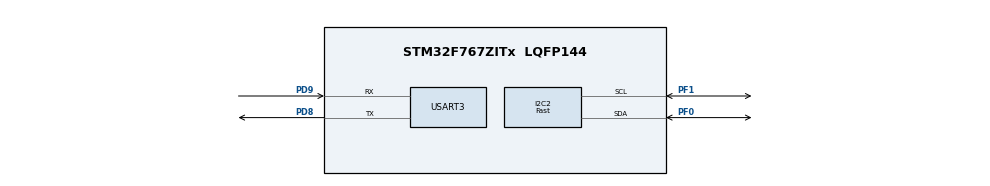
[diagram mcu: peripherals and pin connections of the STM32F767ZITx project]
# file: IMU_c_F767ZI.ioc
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FREERTOS.Tasks01=defaultTask,0,128,StartDefaultTask,Default,NULL
I2C2.I2C_Speed_Mode=I2C_Fast
I2C2.Timing=0x0010061A
Mcu.Family=STM32F7
Mcu.Name=STM32F767ZITx
Mcu.Package=LQFP144
NVIC.PriorityGroup=NVIC_PRIORITYGROUP_4
NVIC.TIM1_UP_TIM10_IRQn=true\:0\:0\:false\:false\:true\:false\:false
NVIC.TimeBase=TIM1_UP_TIM10_IRQn
NVIC.TimeBaseIP=TIM1
NVIC.USART3_IRQn=true\:5\:0\:false\:false\:true\:true\:true
PD8.Mode=Asynchronous
PD8.Signal=USART3_TX
PD9.Mode=Asynchronous
PD9.Signal=USART3_RX
PF0.Mode=I2C
PF0.Signal=I2C2_SDA
PF1.Mode=I2C
PF1.Signal=I2C2_SCL
ProjectManager.HeapSize=0x200
ProjectManager.StackSize=0x400
ProjectManager.TargetToolchain=SW4STM32
RCC.HSE_VALUE=25000000
RCC.HSI_VALUE=16000000
RCC.LSE_VALUE=32768
RCC.USBFreq_Value=96000000
RCC.VCOOutputFreq_Value=192000000
USART3.VirtualMode-Asynchronous=VM_ASYNC
USART3.WordLength=WORDLENGTH_8B
VP_FREERTOS_VS_ENABLE.Mode=Enabled
VP_SYS_VS_tim1.Mode=TIM1
board=IMU_c_F767ZI

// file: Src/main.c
/**
  ******************************************************************************
  * File Name          : main.c
  * Description        : Main program body
  ******************************************************************************
  * This notice applies to any and all portions of this file
  * that are not between comment pairs USER CODE BEGIN and
  * USER CODE END. Other portions of this file, whether
  * inserted by the user or by software development tools
  * are owned by their respective copyright owners.
  *
  * Copyright (c) 2018 STMicroelectronics International N.V.
  * All rights reserved.
  *
  * Redistribution and use in source and binary forms, with or without
  * modification, are permitted, provided that the following conditions are met:
  *
  * 1. Redistribution of source code must retain the above copyright notice,
  *    this list of conditions and the following disclaimer.
  * 2. Redistributions in binary form must reproduce the above copyright notice,
  *    this list of conditions and the following disclaimer in the documentation
  *    and/or other materials provided with the distribution.
  * 3. Neither the name of STMicroelectronics nor the names of other
  *    contributors to this software may be used to endorse or promote products
  *    derived from this software without specific written permission.
  * 4. This software, including modifications and/or derivative works of this
  *    software, must execute solely and exclusively on microcontroller or
  *    microprocessor devices manufactured by or for STMicroelectronics.
  * 5. Redistribution and use of this software other than as permitted under
  *    this license is void and will automatically terminate your rights under
  *    this license.
  *
  * THIS SOFTWARE IS PROVIDED BY STMICROELECTRONICS AND CONTRIBUTORS "AS IS"
  * AND ANY EXPRESS, IMPLIED OR STATUTORY WARRANTIES, INCLUDING, BUT NOT
  * LIMITED TO, THE IMPLIED WARRANTIES OF MERCHANTABILITY, FITNESS FOR A
  * PARTICULAR PURPOSE AND NON-INFRINGEMENT OF THIRD PARTY INTELLECTUAL PROPERTY
  * RIGHTS ARE DISCLAIMED TO THE FULLEST EXTENT PERMITTED BY LAW. IN NO EVENT
  * SHALL STMICROELECTRONICS OR CONTRIBUTORS BE LIABLE FOR ANY DIRECT, INDIRECT,
  * INCIDENTAL, SPECIAL, EXEMPLARY, OR CONSEQUENTIAL DAMAGES (INCLUDING, BUT NOT
  * LIMITED TO, PROCUREMENT OF SUBSTITUTE GOODS OR SERVICES; LOSS OF USE, DATA,
  * OR PROFITS; OR BUSINESS INTERRUPTION) HOWEVER CAUSED AND ON ANY THEORY OF
  * LIABILITY, WHETHER IN CONTRACT, STRICT LIABILITY, OR TORT (INCLUDING
  * NEGLIGENCE OR OTHERWISE) ARISING IN ANY WAY OUT OF THE USE OF THIS SOFTWARE,
  * EVEN IF ADVISED OF THE POSSIBILITY OF SUCH DAMAGE.
  *
  ******************************************************************************
  */

#include "main.h"
#include "stm32f7xx_hal.h"
#include "cmsis_os.h"
#include "i2c.h"
#include "usart.h"
#include "gpio.h"

/* USER CODE BEGIN PV */
/* Private variables ---------------------------------------------------------*/

/* USER CODE END PV */

void SystemClock_Config(void);
void MX_FREERTOS_Init(void);

/* USER CODE BEGIN PFP */
/* Private function prototypes -----------------------------------------------*/

/* USER CODE END PFP */

int main(void)
{

  /* MCU Configuration----------------------------------------------------------*/

  /* Reset of all peripherals, Initializes the Flash interface and the Systick. */
  HAL_Init();

  /* Configure the system clock */
  SystemClock_Config();

  /* Initialize all configured peripherals */
  MX_GPIO_Init();
  MX_USART3_UART_Init();
  MX_I2C2_Init();

  /* Call init function for freertos objects (in freertos.c) */
  MX_FREERTOS_Init();

  /* Start scheduler */
  osKernelStart();

  /* We should never get here as control is now taken by the scheduler */

  /* Infinite loop */
  while (1)
  {

  }

}

/** System Clock Configuration
*/
void SystemClock_Config(void)
{

  RCC_OscInitTypeDef RCC_OscInitStruct;
  RCC_ClkInitTypeDef RCC_ClkInitStruct;
  RCC_PeriphCLKInitTypeDef PeriphClkInitStruct;

    /**Configure the main internal regulator output voltage
    */
  __HAL_RCC_PWR_CLK_ENABLE();

  __HAL_PWR_VOLTAGESCALING_CONFIG(PWR_REGULATOR_VOLTAGE_SCALE3);

    /**Initializes the CPU, AHB and APB busses clocks
    */
  RCC_OscInitStruct.OscillatorType = RCC_OSCILLATORTYPE_HSI;
  RCC_OscInitStruct.HSIState = RCC_HSI_ON;
  RCC_OscInitStruct.HSICalibrationValue = 16;
  RCC_OscInitStruct.PLL.PLLState = RCC_PLL_NONE;
  if (HAL_RCC_OscConfig(&RCC_OscInitStruct) != HAL_OK)
  {
    _Error_Handler(__FILE__, __LINE__);
  }

    /**Initializes the CPU, AHB and APB busses clocks
    */
  RCC_ClkInitStruct.ClockType = RCC_CLOCKTYPE_HCLK|RCC_CLOCKTYPE_SYSCLK
                              |RCC_CLOCKTYPE_PCLK1|RCC_CLOCKTYPE_PCLK2;
  RCC_ClkInitStruct.SYSCLKSource = RCC_SYSCLKSOURCE_HSI;
  RCC_ClkInitStruct.AHBCLKDivider = RCC_SYSCLK_DIV1;
  RCC_ClkInitStruct.APB1CLKDivider = RCC_HCLK_DIV1;
  RCC_ClkInitStruct.APB2CLKDivider = RCC_HCLK_DIV1;

  if (HAL_RCC_ClockConfig(&RCC_ClkInitStruct, FLASH_LATENCY_0) != HAL_OK)
  {
    _Error_Handler(__FILE__, __LINE__);
  }

  PeriphClkInitStruct.PeriphClockSelection = RCC_PERIPHCLK_USART3|RCC_PERIPHCLK_I2C2;
  PeriphClkInitStruct.Usart3ClockSelection = RCC_USART3CLKSOURCE_PCLK1;
  PeriphClkInitStruct.I2c2ClockSelection = RCC_I2C2CLKSOURCE_PCLK1;
  if (HAL_RCCEx_PeriphCLKConfig(&PeriphClkInitStruct) != HAL_OK)
  {
    _Error_Handler(__FILE__, __LINE__);
  }

    /**Configure the Systick interrupt time
    */
  HAL_SYSTICK_Config(HAL_RCC_GetHCLKFreq()/1000);

    /**Configure the Systick
    */
  HAL_SYSTICK_CLKSourceConfig(SYSTICK_CLKSOURCE_HCLK);

  /* SysTick_IRQn interrupt configuration */
  HAL_NVIC_SetPriority(SysTick_IRQn, 15, 0);
}

void HAL_TIM_PeriodElapsedCallback(TIM_HandleTypeDef *htim)
{
  if (htim->Instance == TIM1) {
    HAL_IncTick();
  }
}

void _Error_Handler(char * file, int line)
{
  while(1)
  {
  }
}

/************************ (C) COPYRIGHT STMicroelectronics *****END OF FILE****/

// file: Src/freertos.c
/**
  ******************************************************************************
  * File Name          : freertos.c
  * Description        : Code for freertos applications
  ******************************************************************************
  * This notice applies to any and all portions of this file
  * that are not between comment pairs USER CODE BEGIN and
  * USER CODE END. Other portions of this file, whether
  * inserted by the user or by software development tools
  * are owned by their respective copyright owners.
  *
  * Copyright (c) 2018 STMicroelectronics International N.V.
  * All rights reserved.
  *
  * Redistribution and use in source and binary forms, with or without
  * modification, are permitted, provided that the following conditions are met:
  *
  * 1. Redistribution of source code must retain the above copyright notice,
  *    this list of conditions and the following disclaimer.
  * 2. Redistributions in binary form must reproduce the above copyright notice,
  *    this list of conditions and the following disclaimer in the documentation
  *    and/or other materials provided with the distribution.
  * 3. Neither the name of STMicroelectronics nor the names of other
  *    contributors to this software may be used to endorse or promote products
  *    derived from this software without specific written permission.
  * 4. This software, including modifications and/or derivative works of this
  *    software, must execute solely and exclusively on microcontroller or
  *    microprocessor devices manufactured by or for STMicroelectronics.
  * 5. Redistribution and use of this software other than as permitted under
  *    this license is void and will automatically terminate your rights under
  *    this license.
  *
  * THIS SOFTWARE IS PROVIDED BY STMICROELECTRONICS AND CONTRIBUTORS "AS IS"
  * AND ANY EXPRESS, IMPLIED OR STATUTORY WARRANTIES, INCLUDING, BUT NOT
  * LIMITED TO, THE IMPLIED WARRANTIES OF MERCHANTABILITY, FITNESS FOR A
  * PARTICULAR PURPOSE AND NON-INFRINGEMENT OF THIRD PARTY INTELLECTUAL PROPERTY
  * RIGHTS ARE DISCLAIMED TO THE FULLEST EXTENT PERMITTED BY LAW. IN NO EVENT
  * SHALL STMICROELECTRONICS OR CONTRIBUTORS BE LIABLE FOR ANY DIRECT, INDIRECT,
  * INCIDENTAL, SPECIAL, EXEMPLARY, OR CONSEQUENTIAL DAMAGES (INCLUDING, BUT NOT
  * LIMITED TO, PROCUREMENT OF SUBSTITUTE GOODS OR SERVICES; LOSS OF USE, DATA,
  * OR PROFITS; OR BUSINESS INTERRUPTION) HOWEVER CAUSED AND ON ANY THEORY OF
  * LIABILITY, WHETHER IN CONTRACT, STRICT LIABILITY, OR TORT (INCLUDING
  * NEGLIGENCE OR OTHERWISE) ARISING IN ANY WAY OUT OF THE USE OF THIS SOFTWARE,
  * EVEN IF ADVISED OF THE POSSIBILITY OF SUCH DAMAGE.
  *
  ******************************************************************************
  */

#include "FreeRTOS.h"
#include "task.h"
#include "cmsis_os.h"

/* USER CODE BEGIN Includes */
#include "stm32f7xx_hal.h"
#include "../Drivers/MPU6050/MPU6050.h"
#include "usart.h"
#include <stdio.h>
#include <stdlib.h>
#include "i2c.h"
#include "usart.h"
#include "gpio.h"
/* USER CODE END Includes */

osThreadId defaultTaskHandle;

void StartDefaultTask(void const * argument);

void MX_FREERTOS_Init(void); /* (MISRA C 2004 rule 8.1) */

/* Hook prototypes */

/* Init FreeRTOS */

void MX_FREERTOS_Init(void) {

  /* Create the thread(s) */
  /* definition and creation of defaultTask */
  osThreadDef(defaultTask, StartDefaultTask, osPriorityNormal, 0, 128);
  defaultTaskHandle = osThreadCreate(osThread(defaultTask), NULL);

}

/* StartDefaultTask function */
void StartDefaultTask(void const * argument)
{

  /* USER CODE BEGIN StartDefaultTask */
  /* Infinite loop */
	uint8_t lpf=4;
    MPU6050_HandleTypeDef IMUdata;
    IMUdata._I2C_Handle = &hi2c2;
    MPU6050_init(&IMUdata);
    MPU6050_manually_set_offsets(&IMUdata);
    MPU6050_set_LPF(&IMUdata, lpf);

	for(;;)
  {
		MPU6050_Read_Accelerometer_Withoffset(&IMUdata); //also updates angles
		MPU6050_Read_Gyroscope_Withoffset(&IMUdata);

		//HAL_UART_Transmit(&huart3, IMUdata._Z_ACCEL, 2, 10);
		//HAL_UART_Transmit(&huart3, &test, 1, 10);

		//osDelay(200);

		TickType_t myTicks;
		myTicks = xTaskGetTickCount();
//		HAL_UART_Transmit(&huart3, myTicks, 4, 10);
//		HAL_UART_Transmit(&huart3, "\n", 1, 10);

  }
  /* USER CODE END StartDefaultTask */
}

/************************ (C) COPYRIGHT STMicroelectronics *****END OF FILE****/
